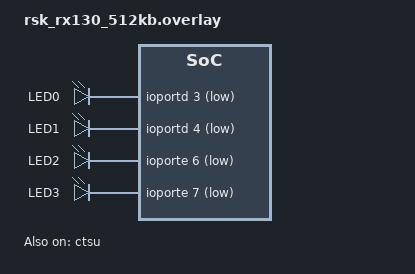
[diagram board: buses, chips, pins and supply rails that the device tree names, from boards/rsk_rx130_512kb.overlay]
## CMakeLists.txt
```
# SPDX-License-Identifier: Apache-2.0

cmake_minimum_required(VERSION 3.28.0)
find_package(Zephyr REQUIRED HINTS $ENV{ZEPHYR_BASE})

project(renesas_ctsu)

target_sources(app PRIVATE src/main.c)

if(CONFIG_INPUT_RENESAS_RX_QE_TOUCH_CFG)
  zephyr_include_directories(src/qe_generated_files)
  zephyr_sources(src/qe_generated_files/qe_touch_config.c)
endif()
```

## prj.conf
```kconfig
CONFIG_GPIO=y
CONFIG_INPUT=y
CONFIG_INPUT_MODE_SYNCHRONOUS=y
CONFIG_INPUT_RENESAS_RX_QE_TOUCH_CFG=y
```

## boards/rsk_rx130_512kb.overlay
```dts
/*
 * Copyright (c) 2025 Renesas Electronics Corporation
 *
 * SPDX-License-Identifier: Apache-2.0
 */

&ctsu {
	status = "okay";
};

&onboard_slider {
	zephyr,code = <1>;
};

&onboard_button_1 {
	zephyr,code = <10>;
};

&onboard_button_2 {
	zephyr,code = <11>;
};

/ {
	leds {
		testled0: testled0 {
			gpios = <&ioportd 3 GPIO_ACTIVE_LOW>;
			label = "LED0";
		};

		testled1: testled1 {
			gpios = <&ioportd 4 GPIO_ACTIVE_LOW>;
			label = "LED1";
		};

		testled2: testled2 {
			gpios = <&ioporte 6 GPIO_ACTIVE_LOW>;
			label = "LED2";
		};

		testled3: testled3 {
			gpios = <&ioporte 7 GPIO_ACTIVE_LOW>;
			label = "LED3";
		};
	};
};
```

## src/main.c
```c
/*
 * Copyright (c) 2025 Renesas Electronics Corporation
 *
 * SPDX-License-Identifier: Apache-2.0
 */

#include <zephyr/sys/util.h>
#include <zephyr/device.h>
#include <zephyr/drivers/gpio/gpio_emul.h>
#include <zephyr/kernel.h>
#include <zephyr/input/input.h>
#include <zephyr/input/input_renesas_rx_ctsu.h>

#ifdef CONFIG_INPUT_RENESAS_RX_QE_TOUCH_CFG
#include "qe_touch_config.h"
#endif /* CONFIG_INPUT_RENESAS_RX_QE_TOUCH_CFG */

static const struct device *const test_touch_dev = DEVICE_DT_GET(DT_NODELABEL(ctsu));
#define BUTTON_1_IDX DT_NODE_CHILD_IDX(DT_NODELABEL(onboard_button_1))
#define BUTTON_2_IDX DT_NODE_CHILD_IDX(DT_NODELABEL(onboard_button_2))
#define SLIDER_IDX   DT_NODE_CHILD_IDX(DT_NODELABEL(onboard_slider))

#define STACKSIZE    1024
#define PRIORITY     7
#define LED0_NODE    DT_NODELABEL(testled0)
#define LED1_NODE    DT_NODELABEL(testled1)
#define LED2_NODE    DT_NODELABEL(testled2)
#define LED3_NODE    DT_NODELABEL(testled3)
#define NUM_TEST_LED 4

#define LED_ON  1
#define LED_OFF 0

enum {
	TOUCH_BUTTON_1 = 10,
	TOUCH_BUTTON_2 = 11,
	TOUCH_SLIDER = 1,
};

static const struct gpio_dt_spec led0 = GPIO_DT_SPEC_GET(LED0_NODE, gpios);
static const struct gpio_dt_spec led1 = GPIO_DT_SPEC_GET(LED1_NODE, gpios);
static const struct gpio_dt_spec led2 = GPIO_DT_SPEC_GET(LED2_NODE, gpios);
static const struct gpio_dt_spec led3 = GPIO_DT_SPEC_GET(LED3_NODE, gpios);
static const struct gpio_dt_spec *leds[] = {&led0, &led1, &led2, &led3};
static volatile int led_state;
static volatile int leds_on_off[NUM_TEST_LED] = {0};
static volatile int current_main_led;

static volatile int event_count[DT_CHILD_NUM_STATUS_OKAY(DT_NODELABEL(ctsu))] = {0};
static uint16_t last_code;
static volatile int32_t last_val[DT_CHILD_NUM_STATUS_OKAY(DT_NODELABEL(ctsu))];
static struct k_sem btn1_sem;
static struct k_sem btn2_sem;
static struct k_sem sldr_sem;
static struct k_sem render_sem;

static void sample_setup(void)
{
	gpio_pin_configure_dt(&led0, GPIO_OUTPUT_INACTIVE);
	gpio_pin_configure_dt(&led1, GPIO_OUTPUT_INACTIVE);
	gpio_pin_configure_dt(&led2, GPIO_OUTPUT_INACTIVE);
	gpio_pin_configure_dt(&led3, GPIO_OUTPUT_INACTIVE);

	k_sem_init(&btn1_sem, 0, 1);
	k_sem_init(&btn2_sem, 0, 1);
	k_sem_init(&sldr_sem, 0, 1);
	k_sem_init(&render_sem, 0, 1);

#ifdef CONFIG_INPUT_RENESAS_RX_QE_TOUCH_CFG
	int ret = renesas_rx_ctsu_group_configure(
		test_touch_dev, (struct renesas_rx_ctsu_touch_cfg *)&g_qe_touch_instance_config01);

	if (ret < 0) {
		printk("Failed to configure QE Touch: %d\n", ret);
		return;
	}
#endif /* CONFIG_INPUT_RENESAS_RX_QE_TOUCH_CFG */
}

static void button1_task(void)
{
	while (1) {
		k_sem_take(&btn1_sem, K_FOREVER);
		if (led_state == 0) {
			/** Current leds are OFF, do nothing */
		} else {
			if (led_state >= 15) {
				led_state = 1;
			} else {
				led_state++;
			}
		}
		k_sem_give(&render_sem);
	}
}

static void button2_task(void)
{
	int prev_state = 0;

	while (1) {
		k_sem_take(&btn2_sem, K_FOREVER);
		if (led_state == 0) {
			/** Current led state is OFF */
			if (prev_state == 0) {
				/** First time power on */
				led_state = 1;
			} else {
				/** Restore prev_state */
				led_state = prev_state;
			}
		} else {
			prev_state = led_state;
			led_state = 0;
		}
		k_sem_give(&render_sem);
	}
}

static void slider_task(void)
{
	while (1) {
		k_sem_take(&sldr_sem, K_FOREVER);
		if (led_state == 0) {
			continue;
		}
		int curr_val = last_val[SLIDER_IDX];

		if (curr_val != TOUCH_OFF_VALUE) {
			if (curr_val == 100) {
				curr_val = 99;
			}
			current_main_led = 3 - (curr_val / 25);
		}
		k_sem_give(&render_sem);
	}
}

static void render_task(void)
{
	while (1) {
		k_sem_take(&render_sem, K_FOREVER);
		for (int i = 0; i < NUM_TEST_LED; i++) {
			if (led_state & BIT(i)) {
				gpio_pin_set_dt(leds[(current_main_led + i) % 4], LED_ON);
			} else {
				gpio_pin_set_dt(leds[(current_main_led + i) % 4], LED_OFF);
			}
		}
	}
}

static void test_touch_keys_cb_handler(struct input_event *evt, void *user_data)
{
	switch (evt->code) {
	case TOUCH_BUTTON_1:
		if (evt->value == 0) {
			printk("Button 1 released\n");
			if (last_val[BUTTON_1_IDX] != 0) {
				k_sem_give(&btn1_sem);
			}
		} else {
			event_count[BUTTON_1_IDX]++;
			printk("Button 1 pressed %d time(s)\n", event_count[BUTTON_1_IDX]);
		}
		last_val[BUTTON_1_IDX] = evt->value;
		break;

	case TOUCH_BUTTON_2:
		if (evt->value == 0) {
			printk("Button 2 released\n");
			if (last_val[BUTTON_2_IDX] != 0) {
				k_sem_give(&btn2_sem);
			}
		} else {
			event_count[BUTTON_2_IDX]++;
			printk("Button 2 pressed %d time(s)\n", event_count[BUTTON_2_IDX]);
		}
		last_val[BUTTON_2_IDX] = evt->value;
		break;

	case TOUCH_SLIDER:
		if (evt->value == TOUCH_OFF_VALUE) {
			printk("Slider released\n");
			if (last_val[SLIDER_IDX] != TOUCH_OFF_VALUE) {
			}
		} else {
			if (last_val[SLIDER_IDX] == TOUCH_OFF_VALUE) {
				event_count[SLIDER_IDX]++;
				printk("Slider pressed\n");
			}
			printk("Position: %d\n", evt->value);
		}
		k_sem_give(&sldr_sem);
		last_val[SLIDER_IDX] = evt->value;
		break;

	default:
		break;
	}
	last_code = evt->code;
}
INPUT_CALLBACK_DEFINE(test_touch_dev, test_touch_keys_cb_handler, NULL);

K_THREAD_DEFINE(button1_id, STACKSIZE, button1_task, NULL, NULL, NULL, PRIORITY, 0, 0);
K_THREAD_DEFINE(button2_id, STACKSIZE, button2_task, NULL, NULL, NULL, PRIORITY, 0, 0);
K_THREAD_DEFINE(slider_id, STACKSIZE, slider_task, NULL, NULL, NULL, PRIORITY, 0, 0);
K_THREAD_DEFINE(render_id, STACKSIZE, render_task, NULL, NULL, NULL, PRIORITY, 0, 0);

int main(void)
{
	sample_setup();
	printk("On board CTSU components sample started!\n");
	printk("Press on touch nodes for sample\n");
	return 0;
}
```
